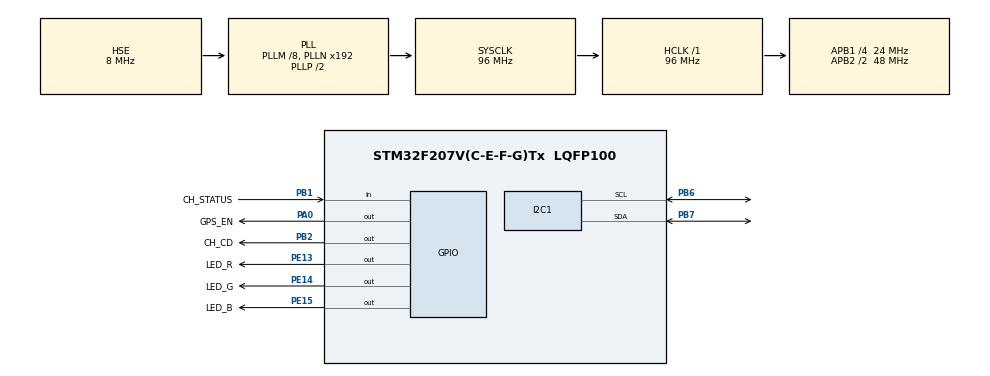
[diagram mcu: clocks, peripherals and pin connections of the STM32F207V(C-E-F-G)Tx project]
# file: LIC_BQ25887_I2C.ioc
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Mcu.Family=STM32F2
Mcu.Name=STM32F207V(C-E-F-G)Tx
Mcu.Package=LQFP100
NVIC.I2C1_ER_IRQn=true\:0\:0\:false\:false\:true\:true\:true
NVIC.I2C1_EV_IRQn=true\:0\:0\:false\:false\:true\:true\:true
NVIC.PriorityGroup=NVIC_PRIORITYGROUP_4
PA0-WKUP.GPIO_Label=GPS_EN
PA0-WKUP.Signal=GPIO_Output
PA13.Mode=Serial_Wire
PA13.Signal=SYS_JTMS-SWDIO
PA14.Mode=Serial_Wire
PA14.Signal=SYS_JTCK-SWCLK
PB1.GPIO_Label=CH_STATUS
PB1.Signal=GPIO_Input
PB2.GPIO_Label=CH_CD
PB2.Signal=GPIO_Output
PB6.Mode=I2C
PB6.Signal=I2C1_SCL
PB7.Mode=I2C
PB7.Signal=I2C1_SDA
PC14-OSC32_IN.Mode=LSE-External-Oscillator
PC14-OSC32_IN.Signal=RCC_OSC32_IN
PC15-OSC32_OUT.Mode=LSE-External-Oscillator
PC15-OSC32_OUT.Signal=RCC_OSC32_OUT
PE13.GPIO_Label=LED_R
PE13.Signal=GPIO_Output
PE14.GPIO_Label=LED_G
PE14.Signal=GPIO_Output
PE15.GPIO_Label=LED_B
PE15.Signal=GPIO_Output
PH0-OSC_IN.Mode=HSE-External-Oscillator
PH0-OSC_IN.Signal=RCC_OSC_IN
PH1-OSC_OUT.Mode=HSE-External-Oscillator
PH1-OSC_OUT.Signal=RCC_OSC_OUT
ProjectManager.HeapSize=0x200
ProjectManager.StackSize=0x400
ProjectManager.TargetToolchain=EWARM V8.32
RCC.48MHZClocksFreq_Value=48000000
RCC.AHBFreq_Value=96000000
RCC.APB1CLKDivider=RCC_HCLK_DIV4
RCC.APB1Freq_Value=24000000
RCC.APB1TimFreq_Value=48000000
RCC.APB2CLKDivider=RCC_HCLK_DIV2
RCC.APB2Freq_Value=48000000
RCC.APB2TimFreq_Value=96000000
RCC.CortexFreq_Value=12000000
RCC.Cortex_Div=SYSTICK_CLKSOURCE_HCLK_DIV8
RCC.HCLKFreq_Value=96000000
RCC.HSE_VALUE=8000000
RCC.HSI_VALUE=16000000
RCC.PLLM=8
RCC.PLLSourceVirtual=RCC_PLLSOURCE_HSE
RCC.SYSCLKFreq_VALUE=96000000
RCC.SYSCLKSource=RCC_SYSCLKSOURCE_PLLCLK
RCC.VCOOutputFreq_Value=192000000
board=custom

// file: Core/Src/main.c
/* USER CODE BEGIN Header */
/**
  ******************************************************************************
  * @file           : main.c
  * @brief          : Main program body
  ******************************************************************************
  * @attention
  *
  * Copyright (c) 2022 STMicroelectronics.
  * All rights reserved.
  *
  * This software is licensed under terms that can be found in the LICENSE file
  * in the root directory of this software component.
  * If no LICENSE file comes with this software, it is provided AS-IS.
  *
  ******************************************************************************
  */
/* USER CODE END Header */
#include "main.h"

I2C_HandleTypeDef hi2c1;

/* USER CODE BEGIN PV */
//uint8_t dataWrite[1]  = {0x79};  //     0x20      or      0xDD     or     0x9d  or 39
//uint8_t dataWrite1[1] = {0x46};  //     0x46      or      0xc6
//uint8_t dataWrite2[1] = {0x39};  //     0xc4      or      0x39
//uint8_t dataWrite3[1] = {0xB0};

uint8_t dataWrite0[1]  = {0xA0};
uint8_t dataWrite1[1]  = {0x5E};
uint8_t dataWrite2[1]  = {0x84};
uint8_t dataWrite3[1]  = {0x39};
uint8_t dataWrite4[1]  = {0x22};
uint8_t dataWrite5[1]  = {0x9D};
uint8_t dataWrite6[1]  = {0x7D};
uint8_t dataWrite7[1]  = {0x00};
uint8_t dataWrite8[1]  = {0x0D};
uint8_t dataWrite9[1]  = {0x00};
uint8_t dataWrite10[1] = {0xff};
uint8_t dataWrite11[1] = {0xff};
uint8_t dataWrite12[1] = {0xff};
uint8_t dataWrite13[1] = {0xff};
uint8_t dataWrite14[1] = {0xff};
uint8_t dataWrite15[1] = {0x00};
uint8_t dataWrite16[1] = {0x00};
uint8_t dataWrite17[1] = {0x00};
uint8_t dataWrite18[1] = {0x00};
uint8_t dataWrite19[1] = {0x00};
uint8_t dataWrite20[1] = {0x00};
uint8_t dataWrite21[1] = {0x30};
uint8_t dataWrite22[1] = {0x00};
uint8_t dataWrite23[1] = {0x00};
uint8_t dataWrite24[1] = {0x00};
uint8_t dataWrite25[1] = {0x00};
uint8_t dataWrite26[1] = {0x00};
uint8_t dataWrite27[1] = {0x00};
uint8_t dataWrite28[1] = {0x00};
uint8_t dataWrite29[1] = {0x00};
uint8_t dataWrite30[1] = {0x00};
uint8_t dataWrite31[1] = {0x00};
uint8_t dataWrite32[1] = {0x00};
uint8_t dataWrite33[1] = {0x00};
uint8_t dataWrite34[1] = {0x00};
uint8_t dataWrite35[1] = {0x00};
uint8_t dataWrite36[1] = {0x00};
uint8_t dataWrite37[1] = {0x28};
uint8_t dataWrite38[1] = {0x00};
uint8_t dataWrite39[1] = {0x00};
uint8_t dataWrite40[1] = {0x2A};
uint8_t dataWrite41[1] = {0xF4};
uint8_t dataWrite42[1] = {0x81};
uint8_t dataWrite43[1] = {0x00};
uint8_t dataWrite44[1] = {0x00};

uint8_t dataRead[8];
uint8_t dataRead0[1];
uint8_t dataRead1[1];
uint8_t dataRead2[1];
uint8_t dataRead3[1];
uint8_t dataRead4[1];
uint8_t dataRead5[1];
uint8_t dataRead6[1];
uint8_t dataRead7[1];
uint8_t dataRead8[1];
uint8_t dataRead9[1];
uint8_t dataRead10[1];
uint8_t dataRead11[1];
uint8_t dataRead12[1];
uint8_t dataRead13[1];
uint8_t dataRead14[1];
uint8_t dataRead15[1];
uint8_t dataRead16[1];
uint8_t dataRead17[1];
uint8_t dataRead18[1];
uint8_t dataRead19[1];
uint8_t dataRead20[1];
uint8_t dataRead21[1];
uint8_t dataRead22[1];
uint8_t dataRead23[1];
uint8_t dataRead24[1];
uint8_t dataRead25[1];
uint8_t dataRead26[1];
uint8_t dataRead27[1];
uint8_t dataRead28[1];
uint8_t dataRead29[1];
uint8_t dataRead30[1];
uint8_t dataRead31[1];
uint8_t dataRead32[1];
uint8_t dataRead33[1];
uint8_t dataRead34[1];
uint8_t dataRead35[1];
uint8_t dataRead36[1];
uint8_t dataRead37[1];
uint8_t dataRead38[1];
uint8_t dataRead39[1];
uint8_t dataRead40[1];
uint8_t dataRead41[1];
uint8_t dataRead42[1];
uint8_t dataRead43[1];
uint8_t dataRead44[1];

/* USER CODE END PV */

void SystemClock_Config(void);
static void MX_GPIO_Init(void);
static void MX_I2C1_Init(void);

int main(void)
{

  /* MCU Configuration--------------------------------------------------------*/

  /* Reset of all peripherals, Initializes the Flash interface and the Systick. */
  HAL_Init();

  /* Configure the system clock */
  SystemClock_Config();

  /* Initialize all configured peripherals */
  MX_GPIO_Init();
  MX_I2C1_Init();

  /* Infinite loop */
  /* USER CODE BEGIN WHILE */
   // BQ25887_Charge_Current_Limit(1500);
    /*BQ25887_Input_Voltage_Limit(4300);
    BQ25887_Input_Current_Limit(3000);*/
      //BQ25887_RESET();
  while (1)
  {
    /* USER CODE END WHILE */

    HAL_Delay(2000);
    BQ25887_Get_Vbat();
    BQ25887_Get_VBUS_Current();
    BQ25887_Get_Charge_Current();
    BQ25887_Get_Vcell_top();
    BQ25887_Get_Vcell_bot();
    BQ25887_Get_Temp();

    Vbus_Stat();
    BQ25887_Charge_Current_Limit(500);

////    BQ25887_Reg_Write(0x03, dataWrite);
////    BQ25887_Reg_Read(0x06, dataRead, 1);
////    BQ25887_Reg_Read(0x29, dataRead1, 1);
////    BQ25887_Reg_Read(0x0B, dataRead2, 1);
////    BQ25887_Reg_Read(0x0C, dataRead3, 1);

//    BQ25887_Reg_Read(0x00, dataRead0, 1);
//    BQ25887_Reg_Read(0x01, dataRead1, 1);
//    BQ25887_Reg_Read(0x02, dataRead2, 1);
//    BQ25887_Reg_Read(0x03, dataRead3, 1);
//    BQ25887_Reg_Read(0x04, dataRead4, 1);
//    BQ25887_Reg_Read(0x05, dataRead5, 1);
//    BQ25887_Reg_Read(0x06, dataRead6, 1);
//    BQ25887_Reg_Read(0x07, dataRead7, 1);
//    BQ25887_Reg_Read(0x08, dataRead8, 1);
//    BQ25887_Reg_Read(0x09, dataRead9, 1);
//    BQ25887_Reg_Read(0x0A, dataRead10, 1);
//    BQ25887_Reg_Read(0x0B, dataRead11, 1);
//    BQ25887_Reg_Read(0x0C, dataRead12, 1);
//    BQ25887_Reg_Read(0x0D, dataRead13, 1);
//    BQ25887_Reg_Read(0x0E, dataRead14, 1);
//    BQ25887_Reg_Read(0x0F, dataRead15, 1);
//    BQ25887_Reg_Read(0x10, dataRead16, 1);
//    BQ25887_Reg_Read(0x11, dataRead17, 1);
//    BQ25887_Reg_Read(0x12, dataRead18, 1);
//    BQ25887_Reg_Read(0x13, dataRead19, 1);
//    BQ25887_Reg_Read(0x14, dataRead20, 1);
//    BQ25887_Reg_Read(0x15, dataRead21, 1);
//    BQ25887_Reg_Read(0x16, dataRead22, 1);
//    BQ25887_Reg_Read(0x17, dataRead23, 1);
//    BQ25887_Reg_Read(0x18, dataRead24, 1);
//    BQ25887_Reg_Read(0x19, dataRead25, 1);
//    BQ25887_Reg_Read(0x1A, dataRead26, 1);
//    BQ25887_Reg_Read(0x1B, dataRead27, 1);
//    BQ25887_Reg_Read(0x1C, dataRead28, 1);
//    BQ25887_Reg_Read(0x1D, dataRead29, 1);
//    BQ25887_Reg_Read(0x1E, dataRead30, 1);
//    BQ25887_Reg_Read(0x1F, dataRead31, 1);
//    BQ25887_Reg_Read(0x20, dataRead32, 1);
//    BQ25887_Reg_Read(0x21, dataRead33, 1);
//    BQ25887_Reg_Read(0x22, dataRead34, 1);
//    BQ25887_Reg_Read(0x23, dataRead35, 1);
//    BQ25887_Reg_Read(0x24, dataRead36, 1);
//    BQ25887_Reg_Read(0x25, dataRead37, 1);
//    BQ25887_Reg_Read(0x26, dataRead38, 1);
//    BQ25887_Reg_Read(0x27, dataRead39, 1);
//    BQ25887_Reg_Read(0x28, dataRead40, 1);
//    BQ25887_Reg_Read(0x29, dataRead41, 1);
//    BQ25887_Reg_Read(0x2A, dataRead42, 1);
//    BQ25887_Reg_Read(0x2B, dataRead43, 1);
//    BQ25887_Reg_Read(0x2C, dataRead44, 1);

    BQ25887_Charge_Status();
    BQ25887_Cancel_Charge(0);

    LED_set_color(PURPLE);

  }
}

void SystemClock_Config(void)
{
  RCC_OscInitTypeDef RCC_OscInitStruct = {0};
  RCC_ClkInitTypeDef RCC_ClkInitStruct = {0};

  /** Initializes the RCC Oscillators according to the specified parameters
  * in the RCC_OscInitTypeDef structure.
  */
  RCC_OscInitStruct.OscillatorType = RCC_OSCILLATORTYPE_HSE;
  RCC_OscInitStruct.HSEState = RCC_HSE_ON;
  RCC_OscInitStruct.PLL.PLLState = RCC_PLL_ON;
  RCC_OscInitStruct.PLL.PLLSource = RCC_PLLSOURCE_HSE;
  RCC_OscInitStruct.PLL.PLLM = 8;
  RCC_OscInitStruct.PLL.PLLN = 192;
  RCC_OscInitStruct.PLL.PLLP = RCC_PLLP_DIV2;
  RCC_OscInitStruct.PLL.PLLQ = 4;
  if (HAL_RCC_OscConfig(&RCC_OscInitStruct) != HAL_OK)
  {
    Error_Handler();
  }
  /** Initializes the CPU, AHB and APB buses clocks
  */
  RCC_ClkInitStruct.ClockType = RCC_CLOCKTYPE_HCLK|RCC_CLOCKTYPE_SYSCLK
                              |RCC_CLOCKTYPE_PCLK1|RCC_CLOCKTYPE_PCLK2;
  RCC_ClkInitStruct.SYSCLKSource = RCC_SYSCLKSOURCE_PLLCLK;
  RCC_ClkInitStruct.AHBCLKDivider = RCC_SYSCLK_DIV1;
  RCC_ClkInitStruct.APB1CLKDivider = RCC_HCLK_DIV4;
  RCC_ClkInitStruct.APB2CLKDivider = RCC_HCLK_DIV2;

  if (HAL_RCC_ClockConfig(&RCC_ClkInitStruct, FLASH_LATENCY_3) != HAL_OK)
  {
    Error_Handler();
  }
}

static void MX_I2C1_Init(void)
{

  hi2c1.Instance = I2C1;
  hi2c1.Init.ClockSpeed = 100000;
  hi2c1.Init.DutyCycle = I2C_DUTYCYCLE_2;
  hi2c1.Init.OwnAddress1 = 0;
  hi2c1.Init.AddressingMode = I2C_ADDRESSINGMODE_7BIT;
  hi2c1.Init.DualAddressMode = I2C_DUALADDRESS_DISABLE;
  hi2c1.Init.OwnAddress2 = 0;
  hi2c1.Init.GeneralCallMode = I2C_GENERALCALL_DISABLE;
  hi2c1.Init.NoStretchMode = I2C_NOSTRETCH_DISABLE;
  if (HAL_I2C_Init(&hi2c1) != HAL_OK)
  {
    Error_Handler();
  }

}

static void MX_GPIO_Init(void)
{
  GPIO_InitTypeDef GPIO_InitStruct = {0};

  /* GPIO Ports Clock Enable */
  __HAL_RCC_GPIOC_CLK_ENABLE();
  __HAL_RCC_GPIOH_CLK_ENABLE();
  __HAL_RCC_GPIOA_CLK_ENABLE();
  __HAL_RCC_GPIOB_CLK_ENABLE();
  __HAL_RCC_GPIOE_CLK_ENABLE();

  /*Configure GPIO pin Output Level */
  HAL_GPIO_WritePin(GPS_EN_GPIO_Port, GPS_EN_Pin, GPIO_PIN_RESET);

  /*Configure GPIO pin Output Level */
  HAL_GPIO_WritePin(CH_CD_GPIO_Port, CH_CD_Pin, GPIO_PIN_RESET);

  /*Configure GPIO pin Output Level */
  HAL_GPIO_WritePin(GPIOE, LED_R_Pin|LED_G_Pin|LED_B_Pin, GPIO_PIN_RESET);

  /*Configure GPIO pin : GPS_EN_Pin */
  GPIO_InitStruct.Pin = GPS_EN_Pin;
  GPIO_InitStruct.Mode = GPIO_MODE_OUTPUT_PP;
  GPIO_InitStruct.Pull = GPIO_NOPULL;
  GPIO_InitStruct.Speed = GPIO_SPEED_FREQ_LOW;
  HAL_GPIO_Init(GPS_EN_GPIO_Port, &GPIO_InitStruct);

  /*Configure GPIO pin : CH_STATUS_Pin */
  GPIO_InitStruct.Pin = CH_STATUS_Pin;
  GPIO_InitStruct.Mode = GPIO_MODE_INPUT;
  GPIO_InitStruct.Pull = GPIO_NOPULL;
  HAL_GPIO_Init(CH_STATUS_GPIO_Port, &GPIO_InitStruct);

  /*Configure GPIO pin : CH_CD_Pin */
  GPIO_InitStruct.Pin = CH_CD_Pin;
  GPIO_InitStruct.Mode = GPIO_MODE_OUTPUT_PP;
  GPIO_InitStruct.Pull = GPIO_NOPULL;
  GPIO_InitStruct.Speed = GPIO_SPEED_FREQ_LOW;
  HAL_GPIO_Init(CH_CD_GPIO_Port, &GPIO_InitStruct);

  /*Configure GPIO pins : LED_R_Pin LED_G_Pin LED_B_Pin */
  GPIO_InitStruct.Pin = LED_R_Pin|LED_G_Pin|LED_B_Pin;
  GPIO_InitStruct.Mode = GPIO_MODE_OUTPUT_PP;
  GPIO_InitStruct.Pull = GPIO_NOPULL;
  GPIO_InitStruct.Speed = GPIO_SPEED_FREQ_LOW;
  HAL_GPIO_Init(GPIOE, &GPIO_InitStruct);

}

void Error_Handler(void)
{
  __disable_irq();
  while (1)
  {
  }
}
